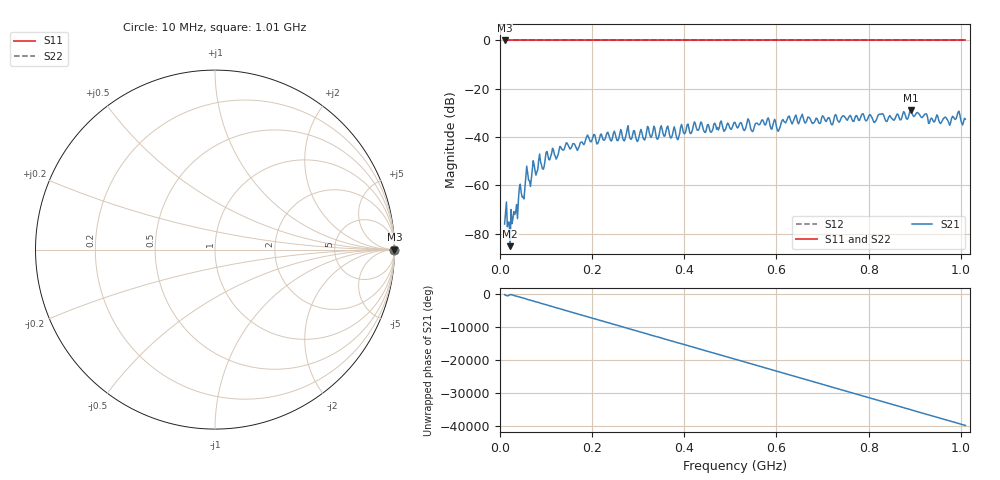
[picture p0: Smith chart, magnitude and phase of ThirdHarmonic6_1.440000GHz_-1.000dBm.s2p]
! 8/16/2025 4:39:05 PM
! C:\ANRITSUVNA\TEMP\TEMP.S2P
! CHANNEL.1
! TR.MEASUREMENT
! RAW.DATA
! RF.CORRECTION.OFF
! AVERAGING.OFF
! IF.BANDWIDTH: 5KHZ
! SWEEPTYPE:  FREQ.SWEEP(Linear)
! Reference Plane Port Info
! PORT:  PORT1  PORT2
! DISTANCE:  0  m  0  m
! TIME:  0  s  0  s
! PHASE.OFFSET:  0  deg.  0  deg.
! LOSS:  0  dB  0  dB
! REF.LOSS:  0  dB  0  dB
! REF.FREQ:  0  Hz  0  Hz
! Power Info
! POWER:  -20  dBm  -20  dBm
! EFF.POWER:  -20  dBm  -20  dBm
! SOURCE.ATTEN:  0  dB  0  dB
! TEST.ATTEN:  0  dB  0  dB
# GHZ S RI R 50.0
! FREQ.GHZ  S11RE  S11IM  S21RE  S21IM  S12RE  S12IM  S22RE  S22IM
!; PortSelection: Port_12
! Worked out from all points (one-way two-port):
!   501 points, 10 MHz to 1.01 GHz, reference 50 ohm
!   highest |S21| = -28.89 dB at 892 MHz (marker M1); lowest = -85.2 dB at 22 MHz (marker M2)
!   lowest |S11| = 0.0 dB at 10 MHz (marker M3)
!   |S11| at or under -10 dB: nowhere
!   |S22| runs from 0.0 to 0.0 dB; largest |S21 - S12| = 1
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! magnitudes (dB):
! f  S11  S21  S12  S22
! 10 MHz  0.0  -76.0  0.0  0.0
! 22 MHz  0.0  -85.2  0.0  0.0
! 36 MHz  0.0  -68.0  0.0  0.0
! 44 MHz  0.0  -59.5  0.0  0.0
! 50 MHz  0.0  -64.7  0.0  0.0
! 58 MHz  0.0  -52.0  0.0  0.0
! 66 MHz  0.0  -60.5  0.0  0.0
! 72 MHz  0.0  -49.8  0.0  0.0
! 144 MHz  0.0  -42.4  0.0  0.0
! 178 MHz  0.0  -42.1  0.0  0.0
! 276 MHz  0.0  -36.7  0.0  0.0
! 344 MHz  0.0  -40.2  0.0  0.0
! 510 MHz  0.0  -33.9  0.0  0.0
! 538 MHz  0.0  -32.5  0.0  0.0
! 548 MHz  0.0  -37.8  0.0  0.0
! 582 MHz  0.0  -32.0  0.0  0.0
! 604 MHz  0.0  -37.6  0.0  0.0
! 626 MHz  0.0  -31.4  0.0  0.0
! 678 MHz  0.0  -34.4  0.0  0.0
! 844 MHz  0.0  -31.6  0.0  0.0
! 892 MHz  0.0  -28.9  0.0  0.0
! 1.01 GHz  0.0  -32.6  0.0  0.0
